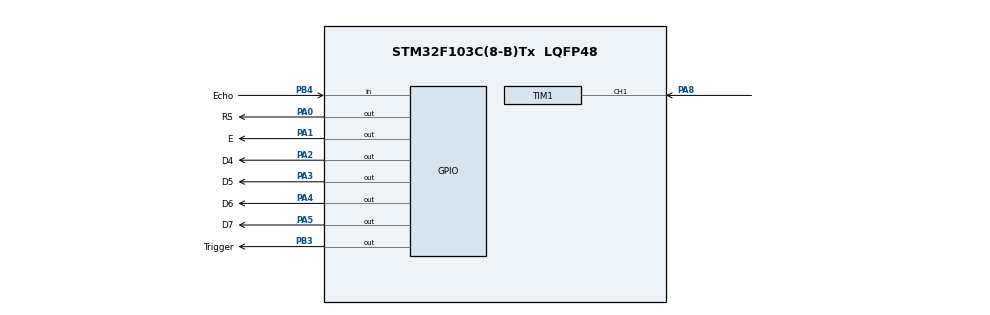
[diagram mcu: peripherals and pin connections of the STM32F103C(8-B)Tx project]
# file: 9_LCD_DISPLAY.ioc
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Mcu.Family=STM32F1
Mcu.Name=STM32F103C(8-B)Tx
Mcu.Package=LQFP48
NVIC.PriorityGroup=NVIC_PRIORITYGROUP_4
NVIC.TIM1_CC_IRQn=true\:0\:0\:false\:false\:true\:true\:true
PA0-WKUP.GPIO_Label=RS
PA0-WKUP.Signal=GPIO_Output
PA1.GPIO_Label=E
PA1.Signal=GPIO_Output
PA13.Mode=Serial_Wire
PA13.Signal=SYS_JTMS-SWDIO
PA14.Mode=Serial_Wire
PA14.Signal=SYS_JTCK-SWCLK
PA2.GPIO_Label=D4
PA2.Signal=GPIO_Output
PA3.GPIO_Label=D5
PA3.Signal=GPIO_Output
PA4.GPIO_Label=D6
PA4.Signal=GPIO_Output
PA5.GPIO_Label=D7
PA5.Signal=GPIO_Output
PA8.Signal=S_TIM1_CH1
PB3.GPIO_Label=Trigger
PB3.Signal=GPIO_Output
PB4.GPIO_Label=Echo
PB4.Signal=GPIO_Input
PD0-OSC_IN.Mode=HSE-External-Oscillator
PD0-OSC_IN.Signal=RCC_OSC_IN
PD1-OSC_OUT.Mode=HSE-External-Oscillator
PD1-OSC_OUT.Signal=RCC_OSC_OUT
ProjectManager.HeapSize=0x200
ProjectManager.StackSize=0x400
ProjectManager.TargetToolchain=MDK-ARM V5.27
RCC.APB1Freq_Value=8000000
RCC.APB2Freq_Value=8000000
RCC.PLLMUL=RCC_PLL_MUL4
RCC.PLLSourceVirtual=RCC_PLLSOURCE_HSE
RCC.USBFreq_Value=32000000
SH.S_TIM1_CH1.0=TIM1_CH1,Input_Capture1_from_TI1
TIM1.Channel-Input_Capture1_from_TI1=TIM_CHANNEL_1
TIM1.ClockDivision=TIM_CLOCKDIVISION_DIV2
TIM1.Period=0xffff
TIM1.Prescaler=32
VP_TIM1_VS_ClockSourceINT.Mode=Internal
board=custom

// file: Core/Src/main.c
/* USER CODE BEGIN Header */
/**
  ******************************************************************************
  * @file           : main.c
  * @brief          : Main program body
  ******************************************************************************
  * @attention
  *
  * <h2><center>&copy; Copyright (c) 2021 STMicroelectronics.
  * All rights reserved.</center></h2>
  *
  * This software component is licensed by ST under BSD 3-Clause license,
  * the "License"; You may not use this file except in compliance with the
  * License. You may obtain a copy of the License at:
  *                        opensource.org/licenses/BSD-3-Clause
  *
  ******************************************************************************
  */
/* USER CODE END Header */
#include "main.h"
#include "tim.h"
#include "gpio.h"

/* USER CODE BEGIN Includes */
#include "lcd16x2.h"
/* USER CODE END Includes */

void SystemClock_Config(void);
/* USER CODE BEGIN PFP */
float distance=0;
uint32_t tt=0;
/* USER CODE END PFP */

/* USER CODE BEGIN 0 */
void delay (uint32_t delay){
	__HAL_TIM_SET_COUNTER(&htim1,0);

	while(__HAL_TIM_GET_COUNTER(&htim1)<delay);

}
float read_sensor(){

	uint32_t time=0;
	float distance_temp;

		HAL_GPIO_WritePin(Trigger_GPIO_Port,Trigger_Pin,GPIO_PIN_SET);
	delay(10);
		HAL_GPIO_WritePin(Trigger_GPIO_Port,Trigger_Pin,GPIO_PIN_RESET);

	while (!HAL_GPIO_ReadPin(Echo_GPIO_Port,Echo_Pin));
	while (HAL_GPIO_ReadPin(Echo_GPIO_Port,Echo_Pin)){
		time++;
		delay(1);

	}

	distance_temp= (float) time/29.1;
	HAL_Delay(50);
	return distance_temp;
}
/* USER CODE END 0 */

int main(void)
{

  /* MCU Configuration--------------------------------------------------------*/

  /* Reset of all peripherals, Initializes the Flash interface and the Systick. */
  HAL_Init();

  /* Configure the system clock */
  SystemClock_Config();

  /* Initialize all configured peripherals */
  MX_GPIO_Init();
  MX_TIM1_Init();
  /* USER CODE BEGIN 2 */
	HAL_TIM_Base_Start(&htim1);
		/*lcd16x2_init_4bits(GPIOA,GPIO_PIN_0|GPIO_PIN_1|GPIO_PIN_2|GPIO_PIN_3|GPIO_PIN_4|GPIO_PIN_5);*/
	 lcd16x2_init_4bits(RS_GPIO_Port, RS_Pin, E_Pin, D4_GPIO_Port, D4_Pin, D5_Pin, D6_Pin, D7_Pin);
  lcd16x2_printf("BiR SEYLER");
  HAL_Delay(1000);
  /* USER CODE END 2 */

  /* Infinite loop */
  /* USER CODE BEGIN WHILE */
  while (1)
  {
		distance=(read_sensor())*3.4;
		HAL_Delay(200);
    /* USER CODE END WHILE */

    /* USER CODE BEGIN 3 */
 lcd16x2_1stLine();
    lcd16x2_printf("distance=",distance,"\n");
		HAL_Delay(1000);
		lcd16x2_2ndLine();
		lcd16x2_printf("cm");

  }
  /* USER CODE END 3 */
}

void SystemClock_Config(void)
{
  RCC_OscInitTypeDef RCC_OscInitStruct = {0};
  RCC_ClkInitTypeDef RCC_ClkInitStruct = {0};

  /** Initializes the RCC Oscillators according to the specified parameters
  * in the RCC_OscInitTypeDef structure.
  */
  RCC_OscInitStruct.OscillatorType = RCC_OSCILLATORTYPE_HSI;
  RCC_OscInitStruct.HSIState = RCC_HSI_ON;
  RCC_OscInitStruct.HSICalibrationValue = RCC_HSICALIBRATION_DEFAULT;
  RCC_OscInitStruct.PLL.PLLState = RCC_PLL_NONE;
  if (HAL_RCC_OscConfig(&RCC_OscInitStruct) != HAL_OK)
  {
    Error_Handler();
  }
  /** Initializes the CPU, AHB and APB buses clocks
  */
  RCC_ClkInitStruct.ClockType = RCC_CLOCKTYPE_HCLK|RCC_CLOCKTYPE_SYSCLK
                              |RCC_CLOCKTYPE_PCLK1|RCC_CLOCKTYPE_PCLK2;
  RCC_ClkInitStruct.SYSCLKSource = RCC_SYSCLKSOURCE_HSI;
  RCC_ClkInitStruct.AHBCLKDivider = RCC_SYSCLK_DIV1;
  RCC_ClkInitStruct.APB1CLKDivider = RCC_HCLK_DIV1;
  RCC_ClkInitStruct.APB2CLKDivider = RCC_HCLK_DIV1;

  if (HAL_RCC_ClockConfig(&RCC_ClkInitStruct, FLASH_LATENCY_0) != HAL_OK)
  {
    Error_Handler();
  }
}

void Error_Handler(void)
{
  __disable_irq();
  while (1)
  {
  }
}

/************************ (C) COPYRIGHT STMicroelectronics *****END OF FILE****/
